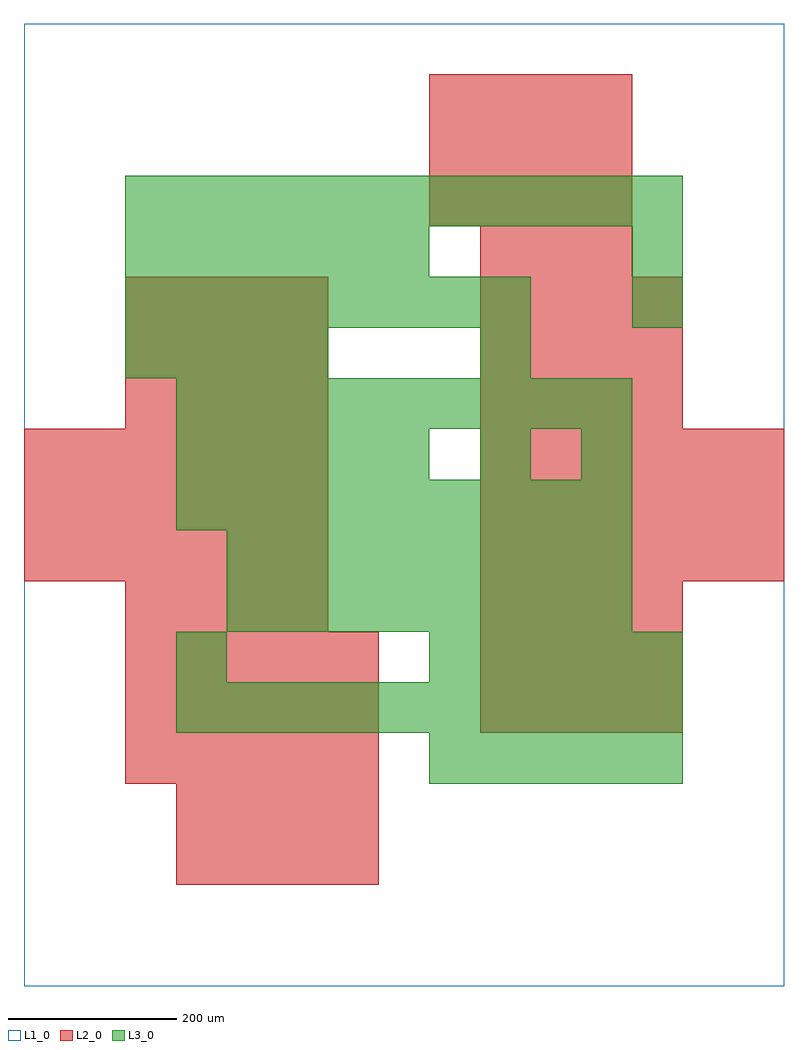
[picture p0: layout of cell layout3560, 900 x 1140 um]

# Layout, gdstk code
import gdstk
lib = gdstk.Library(unit=1e-6, precision=1e-09)
def R(c, l, rs):  # rectangles x0, y0, x1, y1
    for r in rs: c.add(gdstk.rectangle(r[:2], r[2:], *l))
def A(c, l, x, y, w, h, nx, ny, dx, dy):  # array of equal rectangles
    R(c, l, [(x+i*dx, y+j*dy, x+i*dx+w, y+j*dy+h) for i in range(nx) for j in range(ny)])
L1_0 = (1, 0)
L2_0 = (2, 0)
L3_0 = (3, 0)

layout3560 = lib.new_cell('layout3560')
R(layout3560, L1_0, [(0,0,900,1140)])
A(layout3560, L2_0, 180, 120, 60, 60, 4, 2, 60, 60)
A(layout3560, L2_0, 120, 240, 60, 60, 5, 3, 60, 60)
A(layout3560, L2_0, 540, 300, 60, 60, 4, 3, 60, 60)
A(layout3560, L2_0, 120, 420, 60, 60, 4, 2, 60, 240)
A(layout3560, L2_0, 0, 480, 60, 60, 6, 3, 60, 60)
A(layout3560, L2_0, 540, 480, 60, 60, 6, 3, 60, 60)
A(layout3560, L2_0, 540, 660, 60, 60, 4, 3, 60, 60)
A(layout3560, L2_0, 120, 720, 60, 60, 4, 2, 60, 60)
A(layout3560, L2_0, 540, 840, 60, 60, 3, 1, 60, 0)
A(layout3560, L2_0, 480, 900, 60, 60, 4, 3, 60, 60)
A(layout3560, L3_0, 480, 240, 60, 60, 5, 2, 60, 120)
A(layout3560, L3_0, 180, 300, 60, 60, 10, 1, 60, 0)
A(layout3560, L3_0, 240, 420, 60, 60, 8, 2, 60, 60)
A(layout3560, L3_0, 180, 540, 60, 60, 9, 2, 60, 120)
A(layout3560, L3_0, 180, 600, 60, 60, 5, 1, 60, 0)
A(layout3560, L3_0, 120, 720, 60, 60, 4, 1, 60, 0)
A(layout3560, L3_0, 120, 780, 60, 60, 8, 1, 60, 0)
A(layout3560, L3_0, 120, 840, 60, 60, 6, 1, 60, 0)
A(layout3560, L3_0, 120, 900, 60, 60, 11, 1, 60, 0)
R(layout3560, L3_0, [(180,360,240,420), (540,600,600,660), (660,600,720,660), (540,720,600,780), (720,780,780,840), (720,840,780,900)])

lib.write_gds('layout3560.gds')
